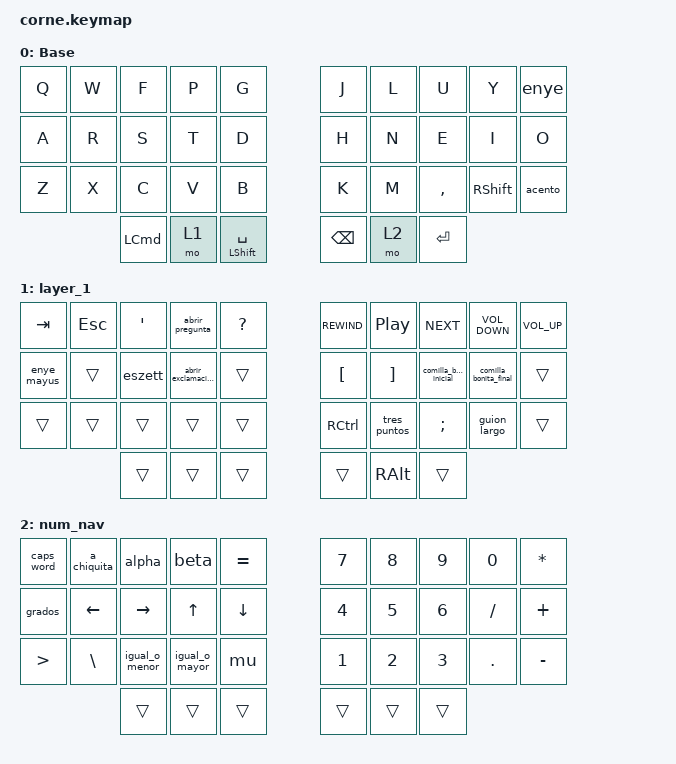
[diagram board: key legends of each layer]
/*
 * Copyright (c) 2020 The ZMK Contributors
 *
 * SPDX-License-Identifier: MIT
 */

#include <behaviors.dtsi>
#include <dt-bindings/zmk/keys.h>

/ {
    chosen { zmk,matrix_transform = &five_column_transform; };

    macros {
        enye: new_macro {
            compatible = "zmk,behavior-macro";
            #binding-cells = <0>;
            bindings =
                <&macro_press>,
                <&kp LEFT_ALT>,
                <&macro_tap>,
                <&kp N0 &kp N0 &kp LS(F) &kp N1>,
                <&macro_release>,
                <&kp LEFT_ALT>;

            label = "NEW_MACRO";
        };

        acento: acento {
            compatible = "zmk,behavior-macro";
            #binding-cells = <0>;
            bindings =
                <&macro_press>,
                <&kp LEFT_ALT>,
                <&macro_tap>,
                <&kp N0 &kp N3 &kp N0 &kp N1>,
                <&macro_release>,
                <&kp LEFT_ALT>;

            label = "ACENTO";
        };

        abrir_pregunta: abrir_pregunta {
            compatible = "zmk,behavior-macro";
            #binding-cells = <0>;
            bindings =
                <&macro_press>,
                <&kp LEFT_ALT>,
                <&macro_tap>,
                <&kp N0 &kp N0 &kp LS(B) &kp LS(F)>,
                <&macro_release>,
                <&kp LEFT_ALT>;

            label = "ABRIR_PREGUNTA";
        };

        abrir_exclamacion: abrir_exclamacion {
            compatible = "zmk,behavior-macro";
            #binding-cells = <0>;
            bindings =
                <&macro_press>,
                <&kp LEFT_ALT>,
                <&macro_tap>,
                <&kp N0 &kp N0 &kp LS(A) &kp N1>,
                <&macro_release>,
                <&kp LEFT_ALT>;

            label = "ABRIR_EXCLAMACION";
        };

        grados: grados {
            compatible = "zmk,behavior-macro";
            #binding-cells = <0>;
            bindings =
                <&macro_press>,
                <&kp LEFT_ALT>,
                <&macro_tap>,
                <&kp N0 &kp N0 &kp LS(B) &kp LS(A)>,
                <&macro_release>,
                <&kp LEFT_ALT>;

            label = "GRADOS";
        };

        enye_mayus: enye_mayus {
            compatible = "zmk,behavior-macro";
            #binding-cells = <0>;
            bindings =
                <&macro_press>,
                <&kp LEFT_ALT>,
                <&macro_tap>,
                <&kp N0 &kp N0 &kp LS(D) &kp N1>,
                <&macro_release>,
                <&kp LEFT_ALT>;

            label = "ENYE_MAYUS";
        };

        a_chiquita: a_chiquita {
            compatible = "zmk,behavior-macro";
            #binding-cells = <0>;
            bindings =
                <&macro_press>,
                <&kp LEFT_ALT>,
                <&macro_tap>,
                <&kp N0 &kp N0 &kp LS(A) &kp LS(A)>,
                <&macro_release>,
                <&kp LEFT_ALT>;

            label = "A_CHIQUITA";
        };

        comilla_bonita_inicial: comilla_bonita_inicial {
            compatible = "zmk,behavior-macro";
            #binding-cells = <0>;
            bindings =
                <&macro_press>,
                <&kp LEFT_ALT>,
                <&macro_tap>,
                <&kp N2 &kp N0 &kp N1 &kp LS(C)>,
                <&macro_release>,
                <&kp LEFT_ALT>;

            label = "COMILLA_BONITA_INICIAL";
        };

        comilla_bonita_final: comilla_bonita_final {
            compatible = "zmk,behavior-macro";
            #binding-cells = <0>;
            bindings =
                <&macro_press>,
                <&kp LEFT_ALT>,
                <&macro_tap>,
                <&kp N2 &kp N0 &kp N1 &kp LS(D)>,
                <&macro_release>,
                <&kp LEFT_ALT>;

            label = "COMILLA_BONITA_FINAL";
        };

        tres_puntos: tres_puntos {
            compatible = "zmk,behavior-macro";
            #binding-cells = <0>;
            bindings =
                <&macro_press>,
                <&kp LEFT_ALT>,
                <&macro_tap>,
                <&kp N2 &kp N0 &kp N2 &kp N6>,
                <&macro_release>,
                <&kp LEFT_ALT>;

            label = "TRES_PUNTOS";
        };

        guion_largo: guion_largo {
            compatible = "zmk,behavior-macro";
            #binding-cells = <0>;
            bindings =
                <&macro_press>,
                <&kp LEFT_ALT>,
                <&macro_tap>,
                <&kp N2 &kp N0 &kp N1 &kp N3>,
                <&macro_release>,
                <&kp LEFT_ALT>;

            label = "GUION_LARGO";
        };

        mu: mu {
            compatible = "zmk,behavior-macro";
            #binding-cells = <0>;
            bindings =
                <&macro_press>,
                <&kp LEFT_ALT>,
                <&macro_tap>,
                <&kp N0 &kp N0 &kp LS(B) &kp N5>,
                <&macro_release>,
                <&kp LEFT_ALT>;

            label = "MU";
        };

        eszett: eszett {
            compatible = "zmk,behavior-macro";
            #binding-cells = <0>;
            bindings =
                <&macro_press>,
                <&kp LEFT_ALT>,
                <&macro_tap>,
                <&kp N0 &kp N0 &kp LS(D) &kp LS(F)>,
                <&macro_release>,
                <&kp LEFT_ALT>;

            label = "ESZETT";
        };

        alpha: alpha {
            compatible = "zmk,behavior-macro";
            #binding-cells = <0>;
            bindings =
                <&macro_press>,
                <&kp LEFT_ALT>,
                <&macro_tap>,
                <&kp N2 &kp N3 &kp N7 &kp LS(A)>,
                <&macro_release>,
                <&kp LEFT_ALT>;

            label = "ALPHA";
        };

        beta: beta {
            compatible = "zmk,behavior-macro";
            #binding-cells = <0>;
            bindings =
                <&macro_press>,
                <&kp LEFT_ALT>,
                <&macro_tap>,
                <&kp N0 &kp N3 &kp LS(B) &kp N2>,
                <&macro_release>,
                <&kp LEFT_ALT>;

            label = "BETA";
        };

        igual_o_mayor: igual_o_mayor {
            compatible = "zmk,behavior-macro";
            #binding-cells = <0>;
            bindings =
                <&macro_press>,
                <&kp LEFT_ALT>,
                <&macro_tap>,
                <&kp N2 &kp N2 &kp N6 &kp N5>,
                <&macro_release>,
                <&kp LEFT_ALT>;

            label = "IGUAL_O_MAYOR";
        };

        igual_o_menor: igual_o_menor {
            compatible = "zmk,behavior-macro";
            #binding-cells = <0>;
            bindings =
                <&macro_press>,
                <&kp LEFT_ALT>,
                <&macro_tap>,
                <&kp N2 &kp N2 &kp N6 &kp N4>,
                <&macro_release>,
                <&kp LEFT_ALT>;

            label = "IGUAL_O_MENOR";
        };
    };

    keymap {
        compatible = "zmk,keymap";

        default_layer {
            display-name = "Base";
            bindings = <
  &kp Q  &kp W  &kp F             &kp P  &kp G                   &kp J          &kp L  &kp U       &kp Y            &enye
  &kp A  &kp R  &kp S             &kp T  &kp D                   &kp H          &kp N  &kp E       &kp I            &kp O
  &kp Z  &kp X  &kp C             &kp V  &kp B                   &kp K          &kp M  &kp COMMA   &kp RIGHT_SHIFT  &acento
                &kp LEFT_COMMAND  &mo 1  &mt LEFT_SHIFT SPACE    &kp BACKSPACE  &mo 2  &kp RETURN
            >;
        };

        layer_1 {
            bindings = <
  &kp TAB      &kp ESC  &kp SINGLE_QUOTE  &abrir_pregunta     &kp QUESTION    &kp C_REWIND       &kp C_PLAY_PAUSE   &kp C_NEXT               &kp C_VOLUME_DOWN      &kp C_VOLUME_UP
  &enye_mayus  &trans   &eszett           &abrir_exclamacion  &trans          &kp LEFT_BRACKET   &kp RIGHT_BRACKET  &comilla_bonita_inicial  &comilla_bonita_final  &trans
  &trans       &trans   &trans            &trans              &trans          &kp RIGHT_CONTROL  &tres_puntos       &kp SEMI                 &guion_largo           &trans
                        &trans            &trans              &trans          &trans             &kp RIGHT_ALT      &trans
            >;
        };

        num_nav {
            bindings = <
  &caps_word        &a_chiquita    &alpha          &beta           &kp EQUAL    &kp N7  &kp N8  &kp N9  &kp N0    &kp ASTERISK
  &grados           &kp LEFT       &kp RIGHT       &kp UP          &kp DOWN     &kp N4  &kp N5  &kp N6  &kp FSLH  &kp PLUS
  &kp GREATER_THAN  &kp BACKSLASH  &igual_o_menor  &igual_o_mayor  &mu          &kp N1  &kp N2  &kp N3  &kp DOT   &kp MINUS
                                   &trans          &trans          &trans       &trans  &trans  &trans
            >;
        };
    };
};
